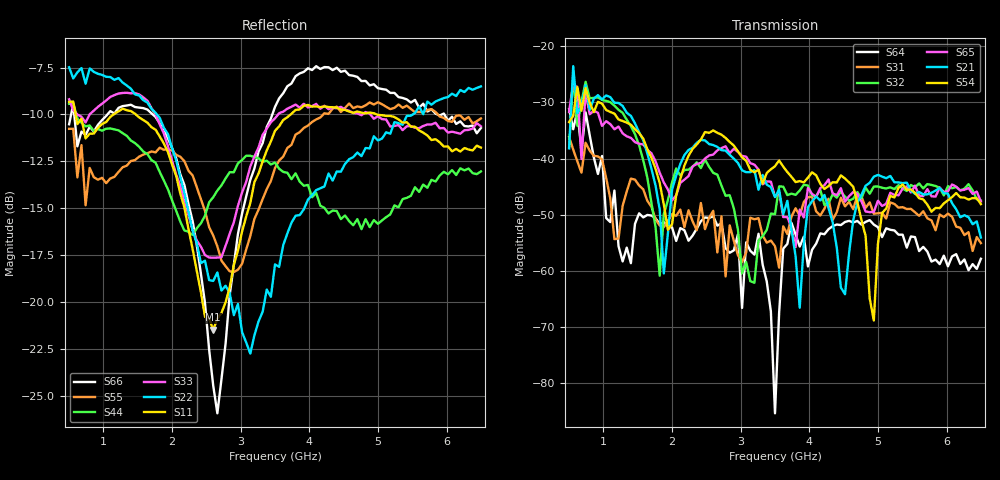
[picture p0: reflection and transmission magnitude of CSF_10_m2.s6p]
!Keysight Technologies,M9804A,MY58100912,A.14.10.03
!Date: Thursday, April 27, 2023 10:28:33
!Correction: S11(C  6-Port  )
!S12(C  6-Port  )
!S13(C  6-Port  )
!S14(C  6-Port  )
!S15(C  6-Port  )
!S16(C  6-Port  )
!S21(C  6-Port  )
!S22(C  6-Port  )
!S23(C  6-Port  )
!S24(C  6-Port  )
!S25(C  6-Port  )
!S26(C  6-Port  )
!S31(C  6-Port  )
!S32(C  6-Port  )
!S33(C  6-Port  )
!S34(C  6-Port  )
!S35(C  6-Port  )
!S36(C  6-Port  )
!S41(C  6-Port  )
!S42(C  6-Port  )
!S43(C  6-Port  )
!S44(C  6-Port  )
!S45(C  6-Port  )
!S46(C  6-Port  )
!S51(C  6-Port  )
!S52(C  6-Port  )
!S53(C  6-Port  )
!S54(C  6-Port  )
!S55(C  6-Port  )
!S56(C  6-Port  )
!S61(C  6-Port  )
!S62(C  6-Port  )
!S63(C  6-Port  )
!S64(C  6-Port  )
!S65(C  6-Port  )
!S66(C  6-Port  )
!S6P File: Measurement: :
# Hz S  RI  R 50
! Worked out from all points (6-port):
!   101 points, 500 MHz to 6.5 GHz, reference 50 ohm
!   strongest paths, dB at 500 MHz, 2 GHz, 3.5 GHz, 5 GHz, 6.5 GHz:
!     S54: -33.5, -51.6, -41.4, -55.2, -48.1
!     S21: -38.2, -45.5, -46.8, -42.9, -54.0
!     S65: -31.7, -47.4, -46.8, -47.5, -47.6
!     S32: -38.0, -44.2, -49.9, -45.0, -47.5
!     S31: -36.2, -49.9, -55.6, -49.7, -55.0
!     S64: -31.2, -52.3, -85.3, -52.2, -57.8
!   lowest |S11| = -21.5 dB at 2.6 GHz (marker M1), VSWR 1.18, Z = 42.6 + j2.39 ohm
!   |S11| at or under -10 dB: 594.3 MHz to 1.149 GHz (554.7 MHz wide, 63.6 % of centre); 1.471 GHz to 3.729 GHz (2.258 GHz wide, 86.9 % of centre); 4.982 GHz to end of sweep
